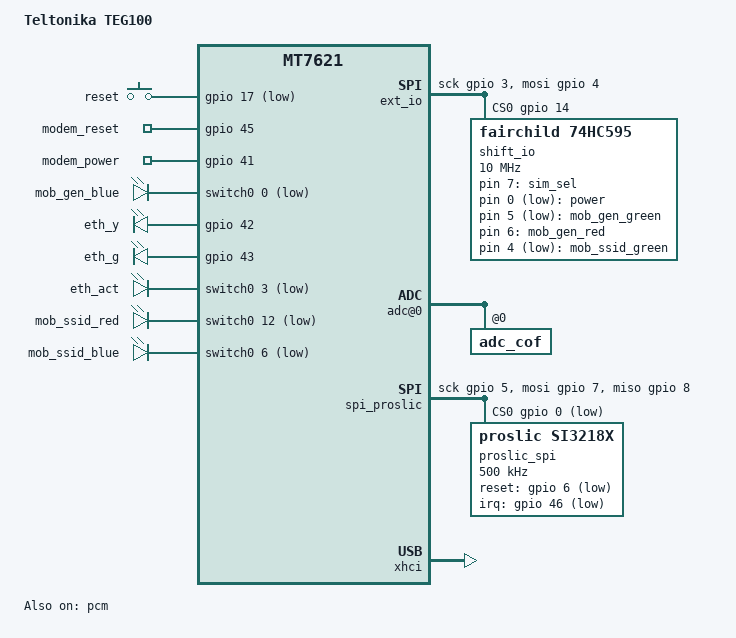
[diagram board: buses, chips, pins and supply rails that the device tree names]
#include "mt7621-teltonika-common.dtsi"
#include "mt7621-teltonika-rutm-flash.dtsi"

/ {
	compatible = "teltonika,teg100", "mediatek,mt7621-soc";
	model = "Teltonika TEG100";

	ext_io {
		compatible = "spi-gpio";
		#address-cells = <1>;
		#size-cells = <0>;

		sck-gpios = <&gpio 3 GPIO_ACTIVE_HIGH>;	// 74HC595 SRCLK (Serial Clock)
		mosi-gpios = <&gpio 4 GPIO_ACTIVE_HIGH>;	// 74HC595 SER (Serial)
		cs-gpios = <&gpio 14 GPIO_ACTIVE_HIGH>;	// 74HC595 RCLK (Register Clock)
		num-chipselects = <1>;

		shift_io: shift_io@0 {
			compatible = "fairchild,74hc595";
			reg = <0>;
			gpio-controller;
			#gpio-cells = <2>;
			registers-number = <2>;
			spi-max-frequency = <10000000>;
		};
	};

	keys {
		compatible = "gpio-keys";

		reset {
			label = "reset";
			gpios = <&gpio 17 GPIO_ACTIVE_LOW>;
			linux,code = <KEY_RESTART>;
		};
	};

	gpio-export {
		compatible = "gpio-export";
		#size-cells = <0>;

		gpio_modem_reset {
			gpio-export,name = "modem_reset";
			gpio-export,output = <0>;
			gpios = <&gpio 45 GPIO_ACTIVE_HIGH>;
		};

		gpio_modem_power {
			gpio-export,name = "modem_power";
			gpio-export,output = <0>;
			gpios = <&gpio 41 GPIO_ACTIVE_HIGH>;
		};

		gpio_sim_select {
			gpio-export,name = "sim_sel";
			gpio-export,output = <0>;
			gpios = <&shift_io 7 GPIO_ACTIVE_HIGH>;
		};
	};

	leds {
		compatible = "gpio-leds";

		led_power {
			label = "power";
			gpios = <&shift_io 0 GPIO_ACTIVE_LOW>;
			default-state = "on";
			retain-state-shutdown;
		};

		led_gen_blue {
			label = "mob_gen_blue";
			gpios = <&switch0 0 GPIO_ACTIVE_LOW>; // P0_LED0
		};

		led_gen_green {
			label = "mob_gen_green";
			gpios = <&shift_io 5 GPIO_ACTIVE_LOW>;
		};

		led_gen_red {
			label = "mob_gen_red";
			gpios = <&shift_io 6 GPIO_ACTIVE_HIGH>;
		};

		led_eth_y {
			label = "eth_y";
			gpios = <&gpio 42 GPIO_ACTIVE_HIGH>;
		};

		led_eth_g {
			label = "eth_g";
			gpios = <&gpio 43 GPIO_ACTIVE_HIGH>;
		};

		led_eth {
			label = "eth_act";
			gpios = <&switch0 3 GPIO_ACTIVE_LOW>;
		};

		led_ssid_red {
			label = "mob_ssid_red";
			gpios = <&switch0 12 GPIO_ACTIVE_LOW>; // P4_LED0
			linux,default-trigger = "timer"; // only
		};

		led_ssid_green {
			gpios = <&shift_io 4 GPIO_ACTIVE_LOW>;
			label = "mob_ssid_green";
			linux,default-trigger = "timer"; //only
		};

		led_ssid_blue {
			label = "mob_ssid_blue";
			gpios = <&switch0 6 GPIO_ACTIVE_LOW>; // P2_LED0
			linux,default-trigger = "timer"; // only
		};
	};

	tlt_gpios { // Modify according to wiki page "DTS syntax with Libgpiod changes"
		gpiochip_info {
			hw_0 {
				hwver = <0>;
				gpiochip_count = <5>;

				gpiochip_0 = <32>; // Built-in
				gpiochip_1 = <32>; // Built-in
				gpiochip_2 = <32>; // Built-in
				gpiochip_3 = <24>; // Shift Register
				gpiochip_4 = <15>; // MT7530 switch GPIO
			};
		};

		ioman {
			GPIO_18 {
				line_name = "GPIO_IN_1";
			};
			GPIO_16 {
				line_name = "GPIO_IN_2";
			};
			GPIO_15 {
				line_name = "GPIO_IN_3";
			};
			GPIO_99 {
				line_name = "GPIO_OUT_1";
			};
			GPIO_98 {
				line_name = "GPIO_OUT_2";
			};
			GPIO_97 {
				line_name = "GPIO_OUT_3";
			};
			GPIO_44 {
				line_name = "GPIO_RELAY_CLOSE_1";
			};
		};

		misc {
			GPIO_45 {
				line_name = "GPIO_MODEM_RESET_1";
			};
			GPIO_7 {
				line_name = "GPIO_SIM_SELECT";
			};
			GPIO_40 {
				line_name = "GPIO_MODEM_POWER_1";
			};
		};
	};

	ioman {
		layout@0 {
			io@0 {
				label = "dio0";
				block_type = BLOCK_6PIN;
				block_pin = "2";
				default_direction = "out";
				gpio_in = "GPIO_IN_1";
				gpio_out = "GPIO_OUT_1";
				io_param = "g0";
			};
			io@1 {
				label = "dio1";
				block_type = BLOCK_6PIN;
				block_pin = "3";
				default_direction = "out";
				gpio_in = "GPIO_IN_3";
				gpio_out = "GPIO_OUT_3";
				io_param = "g2";
			};
			io@2 {
				label = "dio2";
				block_type = BLOCK_6PIN;
				block_pin = "5";
				default_direction = "out";
				gpio_in = "GPIO_IN_2";
				gpio_out = "GPIO_OUT_2";
				io_param = "g1";
			};
			relay@0 {
				label = "relay0";
				block_type = BLOCK_6PIN;
				block_pin = "1,4";
				gpio_close = "GPIO_RELAY_CLOSE_1";
				io_param = "g3";
			};
			adc@0 {
					label = "bat0";
					block_type = BLOCK_2PIN;
					block_pin = "1";
					web_str = "Battery Voltage";
					tolerance = "0.01";
					io_param = "g4";

					adc_cof@0 {
						port = "0";
						multiplier = "0.015949821";
					};
			};
		};
	};

	chosen {
		bootargs = "console=ttyS0,115200";
	};

	spi_proslic {
		compatible = "spi-gpio";
		#address-cells = <1>;
		#size-cells = <0>;

		sck-gpios = <&gpio 5 GPIO_ACTIVE_HIGH>;
		mosi-gpios = <&gpio 7 GPIO_ACTIVE_HIGH>;
		miso-gpios = <&gpio 8 GPIO_ACTIVE_HIGH>;
		cs-gpios = <&gpio 0 GPIO_ACTIVE_LOW>;
		num-chipselects = <1>;

		proslic_spi: proslic_spi@0 {
			compatible = "proslic,si3218x";
			reg = <0>;
			#sound-dai-cells = <0>;
			spi-max-frequency = <500000>;
			spi-cpha = <1>;
			spi-cpol = <1>;
			channel_count = <1>;
			debug_level = <4>;       /* 1 = TRC, 2 = DBG, 4 = ERR */
			reset-gpios = <&gpio 6 GPIO_ACTIVE_LOW>;
			irq-gpios = <&gpio 46 GPIO_ACTIVE_LOW>;
		};
	};

	sound {
		status = "okay";
		compatible = "simple-audio-card";
		simple-audio-card,name = "Audio-PCM";

		simple-audio-card,dai-link@0 {
			format = "dsp_a";
			bitclock-master = <&snd_cpu>;
			frame-master = <&snd_cpu>;

			snd_cpu: cpu {
				sound-dai = <&pcm>;
				dai-tdm-slot-num = <2>;
				dai-tdm-slot-width = <16>;
			};

			snd_codec: codec {
				sound-dai = <&proslic_spi>;
			};
		};

	};

};

&pcm {
	status = "okay";
	#sound-dai-cells = <0>;
	mediatek,clock-keepalive;
	pinctrl-names = "default";
	pinctrl-0 = <&pcm_pins>;
};

&gdma {
    status="okay";
};


&state_default {
	gpio {
		groups = "wdt", "jtag", "uart3";
		function = "gpio";
	};
};

&xhci {
        status = "okay";
};

&sdhci {
        status = "disabled";
};

&switch0 {
	gpio-controller;
	#gpio-cells = <2>;

	ports {
		port@1 {
			status = "okay";
			label = "lan1";
		};
	};
};

&mnfinfo {
	sim_cfg {
		default = "0110000";
	};
};
